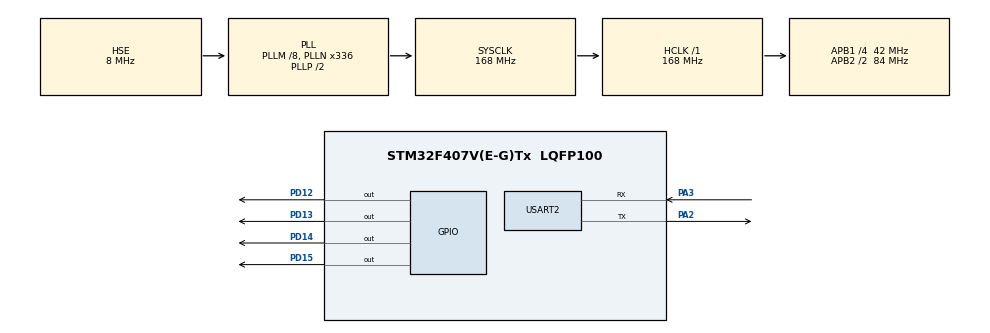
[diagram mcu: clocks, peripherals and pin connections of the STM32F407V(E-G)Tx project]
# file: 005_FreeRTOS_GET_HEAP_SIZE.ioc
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FREERTOS.Tasks01=defaultTask,24,128,StartDefaultTask,Default,NULL,Dynamic,NULL,NULL
Mcu.Family=STM32F4
Mcu.Name=STM32F407V(E-G)Tx
Mcu.Package=LQFP100
NVIC.PriorityGroup=NVIC_PRIORITYGROUP_4
NVIC.TIM8_TRG_COM_TIM14_IRQn=true\:15\:0\:false\:false\:true\:false\:false\:true\:true
NVIC.TimeBase=TIM8_TRG_COM_TIM14_IRQn
NVIC.TimeBaseIP=TIM14
NVIC.USART2_IRQn=true\:5\:0\:false\:false\:true\:true\:true\:true\:true
PA2.Mode=Asynchronous
PA2.Signal=USART2_TX
PA3.Mode=Asynchronous
PA3.Signal=USART2_RX
PD12.Signal=GPIO_Output
PD13.Signal=GPIO_Output
PD14.Signal=GPIO_Output
PD15.Signal=GPIO_Output
PH0-OSC_IN.Mode=HSE-External-Oscillator
PH0-OSC_IN.Signal=RCC_OSC_IN
PH1-OSC_OUT.Mode=HSE-External-Oscillator
PH1-OSC_OUT.Signal=RCC_OSC_OUT
ProjectManager.HeapSize=0x200
ProjectManager.StackSize=0x400
ProjectManager.TargetToolchain=STM32CubeIDE
RCC.48MHZClocksFreq_Value=48000000
RCC.AHBFreq_Value=168000000
RCC.APB1CLKDivider=RCC_HCLK_DIV4
RCC.APB1Freq_Value=42000000
RCC.APB1TimFreq_Value=84000000
RCC.APB2CLKDivider=RCC_HCLK_DIV2
RCC.APB2Freq_Value=84000000
RCC.APB2TimFreq_Value=168000000
RCC.CortexFreq_Value=168000000
RCC.HCLKFreq_Value=168000000
RCC.HSE_VALUE=8000000
RCC.HSI_VALUE=16000000
RCC.LSE_VALUE=32768
RCC.PLLM=8
RCC.PLLN=336
RCC.PLLQ=7
RCC.PLLSourceVirtual=RCC_PLLSOURCE_HSE
RCC.SYSCLKFreq_VALUE=168000000
RCC.SYSCLKSource=RCC_SYSCLKSOURCE_PLLCLK
RCC.VCOOutputFreq_Value=336000000
USART2.VirtualMode=VM_ASYNC
VP_FREERTOS_VS_CMSIS_V2.Mode=CMSIS_V2
VP_SYS_VS_tim14.Mode=TIM14
board=STM32F407G-DISC1

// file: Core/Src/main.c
/* USER CODE BEGIN Header */
/**
  ******************************************************************************
  * @file           : main.c
  * @brief          : Main program body
  ******************************************************************************
  * @attention
  *
  * Copyright (c) 2023 STMicroelectronics.
  * All rights reserved.
  *
  * This software is licensed under terms that can be found in the LICENSE file
  * in the root directory of this software component.
  * If no LICENSE file comes with this software, it is provided AS-IS.
  *
  ******************************************************************************
  */
/* USER CODE END Header */
#include "main.h"

/* USER CODE BEGIN Includes */
#include "FreeRTOS.h"
#include "task.h"
/* USER CODE END Includes */
#include <string.h>
#include <stdio.h>

UART_HandleTypeDef huart2;

/* Definitions for defaultTask */

void SystemClock_Config(void);
static void MX_GPIO_Init(void);
static void MX_USART2_UART_Init(void);
void StartDefaultTask(void *argument);

/* USER CODE BEGIN 0 */
void vApplicationMallocFailedHook( void )
{
	// When vPortMalloc fails this callback function is called.
	HAL_GPIO_TogglePin(GPIOD, GPIO_PIN_15);
}
void Task1(void *pvParameters)
{
	typedef struct person
	{
		uint8_t age;
		char *name;
	}Unit;
	int count = 0;
	while(1)
	{
		Unit *ptr = pvPortMalloc(sizeof(Unit));
		char buffer[100];

		ptr->age = 28;
		ptr->name = "Mehmet";

		if(ptr == NULL)
			HAL_GPIO_TogglePin(GPIOD,GPIO_PIN_13);

		sprintf(buffer, "#%d times %s name and %d age written\r\n", count,ptr->name, ptr->age);
		HAL_UART_Transmit(&huart2,(uint8_t *)buffer, strlen(buffer), HAL_MAX_DELAY );
		vTaskDelay(5);

		sprintf(buffer,"Heap has %d bytes free!\r\n", xPortGetFreeHeapSize());
		HAL_UART_Transmit(&huart2, (uint8_t*)buffer, strlen(buffer), HAL_MAX_DELAY);
		vTaskDelay(5);

		sprintf(buffer,"Heap has minimum free %d bytes since Scheduler Started\r\n", xPortGetMinimumEverFreeHeapSize());
		HAL_UART_Transmit(&huart2, (uint8_t *)buffer, strlen(buffer), HAL_MAX_DELAY);

		//vPortFree(ptr);
		HAL_GPIO_TogglePin(GPIOD, GPIO_PIN_12);
		vTaskDelay(40);
		count++;
	}
}
/* USER CODE END 0 */

int main(void)
{

  /* MCU Configuration--------------------------------------------------------*/

  /* Reset of all peripherals, Initializes the Flash interface and the Systick. */
  HAL_Init();

  /* Configure the system clock */
  SystemClock_Config();

  /* Initialize all configured peripherals */
  MX_GPIO_Init();
  MX_USART2_UART_Init();
  /* USER CODE BEGIN 2 */
  xTaskCreate(Task1,"Task1", configMINIMAL_STACK_SIZE, NULL, 1, NULL);
  vTaskStartScheduler();
  /* USER CODE END 2 */

  /* Init scheduler */

  /* Create the thread(s) */
  /* creation of defaultTask */

  /* Start scheduler */
  /* We should never get here as control is now taken by the scheduler */
  /* Infinite loop */
  while (1)
  {

  }
}

void SystemClock_Config(void)
{
  RCC_OscInitTypeDef RCC_OscInitStruct = {0};
  RCC_ClkInitTypeDef RCC_ClkInitStruct = {0};

  /** Configure the main internal regulator output voltage
  */
  __HAL_RCC_PWR_CLK_ENABLE();
  __HAL_PWR_VOLTAGESCALING_CONFIG(PWR_REGULATOR_VOLTAGE_SCALE1);

  /** Initializes the RCC Oscillators according to the specified parameters
  * in the RCC_OscInitTypeDef structure.
  */
  RCC_OscInitStruct.OscillatorType = RCC_OSCILLATORTYPE_HSE;
  RCC_OscInitStruct.HSEState = RCC_HSE_ON;
  RCC_OscInitStruct.PLL.PLLState = RCC_PLL_ON;
  RCC_OscInitStruct.PLL.PLLSource = RCC_PLLSOURCE_HSE;
  RCC_OscInitStruct.PLL.PLLM = 8;
  RCC_OscInitStruct.PLL.PLLN = 336;
  RCC_OscInitStruct.PLL.PLLP = RCC_PLLP_DIV2;
  RCC_OscInitStruct.PLL.PLLQ = 7;
  if (HAL_RCC_OscConfig(&RCC_OscInitStruct) != HAL_OK)
  {
    Error_Handler();
  }

  /** Initializes the CPU, AHB and APB buses clocks
  */
  RCC_ClkInitStruct.ClockType = RCC_CLOCKTYPE_HCLK|RCC_CLOCKTYPE_SYSCLK
                              |RCC_CLOCKTYPE_PCLK1|RCC_CLOCKTYPE_PCLK2;
  RCC_ClkInitStruct.SYSCLKSource = RCC_SYSCLKSOURCE_PLLCLK;
  RCC_ClkInitStruct.AHBCLKDivider = RCC_SYSCLK_DIV1;
  RCC_ClkInitStruct.APB1CLKDivider = RCC_HCLK_DIV4;
  RCC_ClkInitStruct.APB2CLKDivider = RCC_HCLK_DIV2;

  if (HAL_RCC_ClockConfig(&RCC_ClkInitStruct, FLASH_LATENCY_5) != HAL_OK)
  {
    Error_Handler();
  }
}

static void MX_USART2_UART_Init(void)
{

  huart2.Instance = USART2;
  huart2.Init.BaudRate = 115200;
  huart2.Init.WordLength = UART_WORDLENGTH_8B;
  huart2.Init.StopBits = UART_STOPBITS_1;
  huart2.Init.Parity = UART_PARITY_NONE;
  huart2.Init.Mode = UART_MODE_TX_RX;
  huart2.Init.HwFlowCtl = UART_HWCONTROL_NONE;
  huart2.Init.OverSampling = UART_OVERSAMPLING_16;
  if (HAL_UART_Init(&huart2) != HAL_OK)
  {
    Error_Handler();
  }

}

static void MX_GPIO_Init(void)
{
  GPIO_InitTypeDef GPIO_InitStruct = {0};

  /* GPIO Ports Clock Enable */
  __HAL_RCC_GPIOH_CLK_ENABLE();
  __HAL_RCC_GPIOA_CLK_ENABLE();
  __HAL_RCC_GPIOD_CLK_ENABLE();

  /*Configure GPIO pin Output Level */
  HAL_GPIO_WritePin(GPIOD, GPIO_PIN_12|GPIO_PIN_13|GPIO_PIN_14|GPIO_PIN_15, GPIO_PIN_RESET);

  /*Configure GPIO pins : PD12 PD13 PD14 PD15 */
  GPIO_InitStruct.Pin = GPIO_PIN_12|GPIO_PIN_13|GPIO_PIN_14|GPIO_PIN_15;
  GPIO_InitStruct.Mode = GPIO_MODE_OUTPUT_PP;
  GPIO_InitStruct.Pull = GPIO_NOPULL;
  GPIO_InitStruct.Speed = GPIO_SPEED_FREQ_LOW;
  HAL_GPIO_Init(GPIOD, &GPIO_InitStruct);

}

void HAL_TIM_PeriodElapsedCallback(TIM_HandleTypeDef *htim)
{
  if (htim->Instance == TIM14) {
    HAL_IncTick();
  }
}

void Error_Handler(void)
{
  /* USER CODE BEGIN Error_Handler_Debug */
  /* User can add his own implementation to report the HAL error return state */
  __disable_irq();
  while (1)
  {
	  HAL_GPIO_WritePin(GPIOD, GPIO_PIN_14,GPIO_PIN_SET);

  }
  /* USER CODE END Error_Handler_Debug */
}
